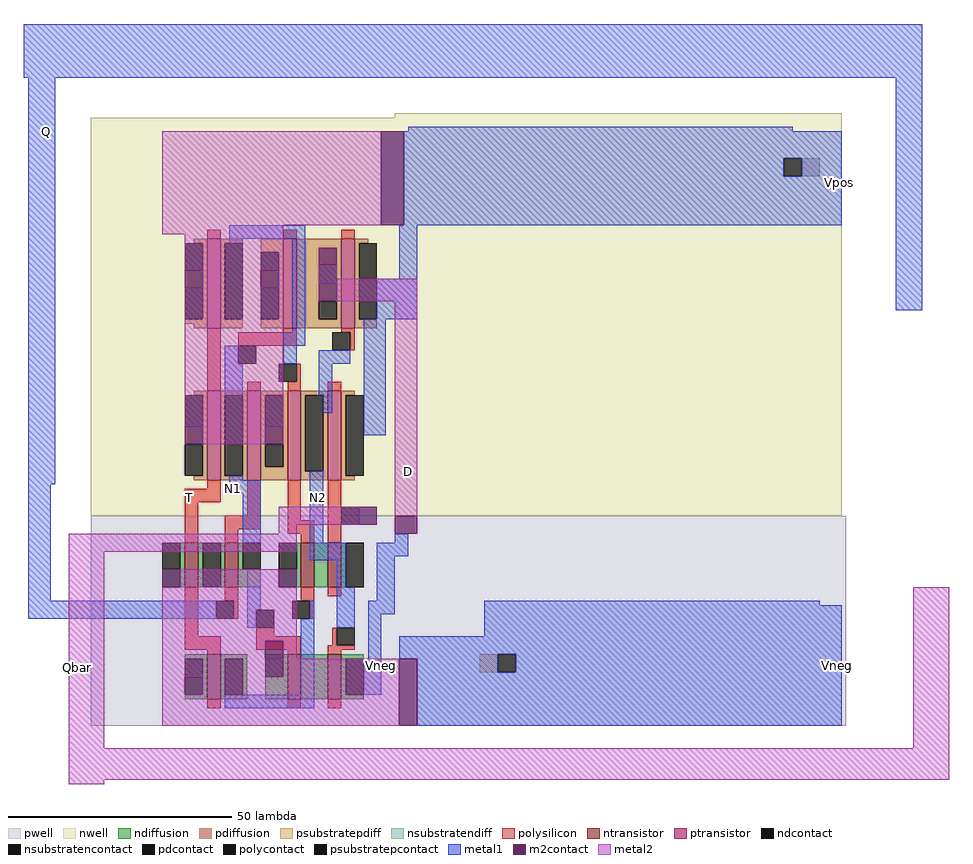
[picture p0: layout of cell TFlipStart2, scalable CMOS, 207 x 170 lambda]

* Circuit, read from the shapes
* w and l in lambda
.subckt TFlipStart2 D N1 N2 Q Qbar T Vneg Vpos
M1 n3 T Vneg Vneg nfet w=10 l=3
M2 n4 T Vneg Vneg nfet w=10 l=3
M3 N1 Q n3 Vneg nfet w=10 l=3
M4 n5 N1 Vneg Vneg nfet w=10 l=3
M5 n6 n4 Vneg Vneg nfet w=10 l=3
M6 D N2 n5 Vneg nfet w=10 l=3
M7 N2 Qbar n6 Vneg nfet w=10 l=3
M8 N1 T Vpos Vpos pfet w=20 l=3
M9 n4 T Vpos Vpos pfet w=20 l=3
M10 Vpos Q N1 Vpos pfet w=20 l=3
M11 D N1 Vpos Vpos pfet w=20 l=3
M12 N2 n4 Vpos Vpos pfet w=20 l=3
M13 Vpos Qbar N2 Vpos pfet w=20 l=3
M14 Vpos N2 D Vpos pfet w=20 l=3
.ends

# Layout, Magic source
magic
tech scmos
<< nwell >>
rect 216 -208 316 -207
rect 148 -297 316 -208
<< pwell >>
rect 148 -344 317 -297
<< ntransistor >>
rect 169 -313 172 -303
rect 178 -313 181 -303
rect 195 -313 198 -303
rect 201 -313 204 -303
rect 174 -338 177 -328
rect 192 -338 195 -328
rect 201 -338 204 -328
<< ptransistor >>
rect 174 -255 177 -235
rect 191 -255 194 -235
rect 204 -255 207 -235
rect 174 -289 177 -269
rect 183 -289 186 -269
rect 192 -289 195 -269
rect 201 -289 204 -269
<< ndiffusion >>
rect 168 -309 169 -303
rect 164 -313 169 -309
rect 172 -313 173 -303
rect 177 -313 178 -303
rect 181 -309 182 -303
rect 181 -313 186 -309
rect 194 -309 195 -303
rect 190 -313 195 -309
rect 198 -313 201 -303
rect 204 -313 205 -303
rect 169 -329 174 -328
rect 173 -333 174 -329
rect 169 -338 174 -333
rect 177 -329 183 -328
rect 177 -337 178 -329
rect 182 -337 183 -329
rect 177 -338 183 -337
rect 187 -329 192 -328
rect 191 -333 192 -329
rect 187 -338 192 -333
rect 195 -338 201 -328
rect 204 -329 209 -328
rect 204 -337 205 -329
rect 204 -338 209 -337
<< pdiffusion >>
rect 171 -236 174 -235
rect 173 -242 174 -236
rect 169 -246 174 -242
rect 173 -253 174 -246
rect 169 -254 174 -253
rect 171 -255 174 -254
rect 177 -236 182 -235
rect 177 -253 178 -236
rect 177 -255 182 -253
rect 186 -238 191 -235
rect 190 -242 191 -238
rect 186 -246 191 -242
rect 190 -253 191 -246
rect 186 -255 191 -253
rect 194 -241 204 -235
rect 194 -245 199 -241
rect 203 -245 204 -241
rect 194 -249 204 -245
rect 194 -253 199 -249
rect 203 -253 204 -249
rect 194 -255 204 -253
rect 207 -236 210 -235
rect 207 -253 208 -236
rect 207 -255 212 -253
rect 171 -270 174 -269
rect 173 -277 174 -270
rect 169 -281 174 -277
rect 173 -288 174 -281
rect 171 -289 174 -288
rect 177 -270 183 -269
rect 177 -288 178 -270
rect 182 -288 183 -270
rect 177 -289 183 -288
rect 186 -270 192 -269
rect 186 -277 187 -270
rect 191 -277 192 -270
rect 186 -281 192 -277
rect 186 -286 187 -281
rect 191 -286 192 -281
rect 186 -289 192 -286
rect 195 -270 201 -269
rect 195 -287 196 -270
rect 200 -287 201 -270
rect 195 -289 201 -287
rect 204 -270 207 -269
rect 204 -288 205 -270
rect 204 -289 207 -288
<< ndcontact >>
rect 164 -309 168 -303
rect 173 -313 177 -303
rect 182 -309 186 -303
rect 190 -309 194 -303
rect 205 -313 209 -303
rect 169 -333 173 -329
rect 178 -337 182 -329
rect 187 -333 191 -329
rect 205 -337 209 -329
<< pdcontact >>
rect 169 -242 173 -236
rect 169 -253 173 -246
rect 178 -253 182 -236
rect 186 -242 190 -238
rect 186 -253 190 -246
rect 199 -245 203 -241
rect 199 -253 203 -249
rect 208 -253 212 -236
rect 169 -277 173 -270
rect 169 -288 173 -281
rect 178 -288 182 -270
rect 187 -277 191 -270
rect 187 -286 191 -281
rect 196 -287 200 -270
rect 205 -288 209 -270
<< psubstratepdiff >>
rect 235 -332 239 -328
<< nsubstratendiff >>
rect 307 -221 311 -217
<< psubstratepcontact >>
rect 239 -332 243 -328
<< nsubstratencontact >>
rect 303 -221 307 -217
<< polysilicon >>
rect 174 -235 177 -233
rect 191 -235 194 -233
rect 204 -235 207 -233
rect 174 -269 177 -255
rect 191 -256 194 -255
rect 204 -256 207 -255
rect 181 -259 194 -256
rect 206 -260 207 -256
rect 194 -267 195 -263
rect 183 -269 186 -267
rect 192 -269 195 -267
rect 201 -269 204 -267
rect 174 -291 177 -289
rect 169 -294 177 -291
rect 169 -303 172 -294
rect 183 -297 186 -289
rect 178 -300 186 -297
rect 192 -298 195 -289
rect 178 -303 181 -300
rect 192 -301 198 -298
rect 195 -303 198 -301
rect 201 -303 204 -289
rect 169 -324 172 -313
rect 178 -316 181 -313
rect 195 -316 198 -313
rect 201 -315 204 -313
rect 180 -320 181 -316
rect 197 -320 198 -316
rect 185 -324 189 -322
rect 169 -327 177 -324
rect 185 -327 195 -324
rect 202 -326 203 -322
rect 174 -328 177 -327
rect 192 -328 195 -327
rect 201 -327 207 -326
rect 201 -328 204 -327
rect 174 -340 177 -338
rect 192 -340 195 -338
rect 201 -340 204 -338
<< polycontact >>
rect 181 -263 185 -259
rect 202 -260 206 -256
rect 190 -267 194 -263
rect 204 -299 208 -295
rect 176 -320 180 -316
rect 185 -322 189 -318
rect 193 -320 197 -316
rect 203 -326 207 -322
<< metal1 >>
rect 133 -199 334 -187
rect 134 -290 140 -199
rect 219 -211 305 -210
rect 218 -217 316 -211
rect 218 -221 303 -217
rect 307 -221 316 -217
rect 218 -232 316 -221
rect 179 -235 196 -232
rect 179 -236 182 -235
rect 193 -256 196 -235
rect 217 -244 221 -232
rect 212 -253 221 -244
rect 328 -251 334 -199
rect 191 -259 196 -256
rect 178 -263 181 -259
rect 191 -263 194 -259
rect 178 -270 182 -263
rect 199 -263 206 -260
rect 199 -270 202 -263
rect 200 -274 202 -270
rect 179 -289 182 -288
rect 134 -316 139 -290
rect 179 -292 186 -289
rect 182 -303 186 -292
rect 197 -303 200 -287
rect 209 -279 214 -253
rect 216 -303 219 -301
rect 134 -320 176 -316
rect 183 -318 186 -309
rect 197 -307 205 -303
rect 203 -313 205 -307
rect 212 -306 219 -303
rect 183 -322 185 -318
rect 197 -320 198 -316
rect 195 -337 198 -320
rect 203 -322 207 -313
rect 212 -316 216 -306
rect 210 -319 216 -316
rect 236 -317 311 -316
rect 210 -329 213 -319
rect 236 -324 316 -317
rect 209 -337 213 -329
rect 217 -328 316 -324
rect 217 -329 239 -328
rect 178 -340 198 -337
rect 221 -332 239 -329
rect 243 -332 316 -328
rect 221 -344 316 -332
<< m2contact >>
rect 213 -232 218 -211
rect 169 -246 173 -242
rect 186 -246 190 -242
rect 199 -241 203 -237
rect 199 -249 203 -245
rect 169 -281 173 -277
rect 187 -281 191 -277
rect 208 -299 212 -295
rect 216 -301 221 -297
rect 164 -313 168 -309
rect 190 -313 194 -309
rect 187 -329 191 -325
rect 169 -337 173 -333
rect 217 -344 221 -329
<< metal2 >>
rect 164 -232 213 -211
rect 164 -234 191 -232
rect 169 -242 191 -234
rect 173 -246 186 -242
rect 190 -246 191 -242
rect 169 -277 191 -246
rect 199 -244 203 -241
rect 199 -245 221 -244
rect 203 -249 221 -245
rect 173 -281 187 -277
rect 190 -299 208 -295
rect 216 -297 221 -249
rect 190 -301 194 -299
rect 143 -305 194 -301
rect 143 -349 151 -305
rect 168 -313 190 -309
rect 164 -325 194 -313
rect 164 -329 187 -325
rect 191 -329 194 -325
rect 164 -333 217 -329
rect 164 -337 169 -333
rect 173 -337 217 -333
rect 164 -344 217 -337
rect 332 -349 340 -313
rect 143 -356 340 -349
rect 143 -357 151 -356
<< labels >>
rlabel metal1 314 -344 316 -317 1 Vneg
rlabel nwell 315 -234 316 -211 1 Vpos
rlabel pwell 212 -344 214 -317 3 Vneg
rlabel metal2 219 -287 219 -287 1 D
rlabel metal1 138 -211 138 -211 3 Q
rlabel metal2 145 -331 145 -331 1 Qbar
rlabel polysilicon 170 -293 170 -293 1 T
rlabel metal1 180 -291 180 -291 1 N1
rlabel metal1 199 -293 199 -293 1 N2
<< end >>
